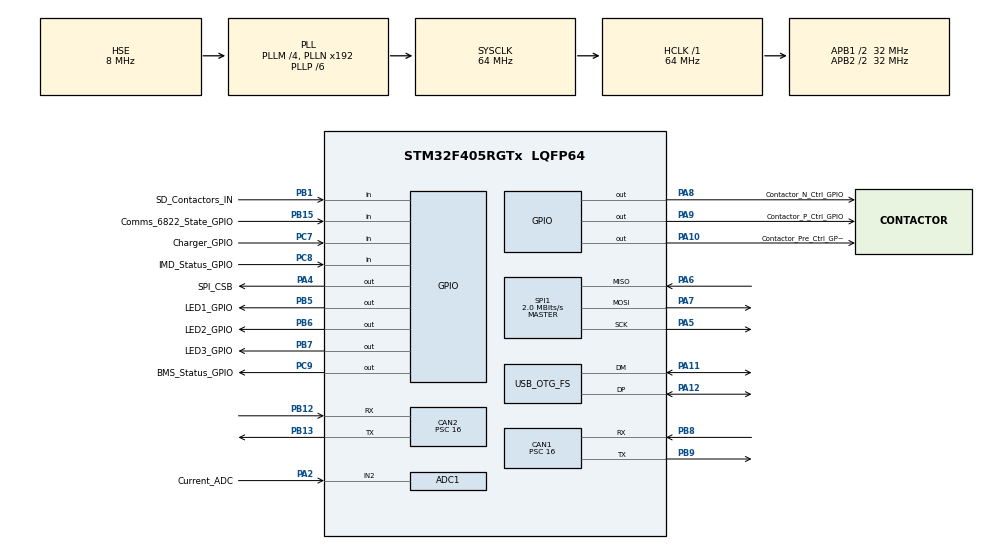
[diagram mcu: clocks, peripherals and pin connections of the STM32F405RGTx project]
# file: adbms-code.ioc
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ADC1.Channel-0\#ChannelRegularConversion=ADC_CHANNEL_2
ADC1.NbrOfConversionFlag=1
ADC1.Rank-0\#ChannelRegularConversion=1
ADC1.SamplingTime-0\#ChannelRegularConversion=ADC_SAMPLETIME_3CYCLES
ADC1.master=1
CAN1.BS1=CAN_BS1_2TQ
CAN1.BS2=CAN_BS2_1TQ
CAN1.CalculateBaudRate=500000
CAN1.CalculateTimeBit=2000
CAN1.CalculateTimeQuantum=500.0
CAN1.Prescaler=16
CAN2.BS1=CAN_BS1_2TQ
CAN2.BS2=CAN_BS2_1TQ
CAN2.CalculateBaudRate=500000
CAN2.CalculateTimeBit=2000
CAN2.CalculateTimeQuantum=500.0
CAN2.Prescaler=16
Mcu.Family=STM32F4
Mcu.Name=STM32F405RGTx
Mcu.Package=LQFP64
NVIC.CAN1_RX0_IRQn=true\:0\:0\:false\:false\:true\:true\:true\:true
NVIC.OTG_FS_IRQn=true\:0\:0\:false\:false\:true\:false\:true\:true
NVIC.PriorityGroup=NVIC_PRIORITYGROUP_4
NVIC.SPI1_IRQn=true\:0\:0\:false\:false\:true\:true\:true\:true
PA10.GPIO_Label=Contactor_Pre_Ctrl_GPIO
PA10.Signal=GPIO_Output
PA11.Mode=Device_Only
PA11.Signal=USB_OTG_FS_DM
PA12.Mode=Device_Only
PA12.Signal=USB_OTG_FS_DP
PA13.Mode=Trace_Asynchronous_SW
PA13.Signal=SYS_JTMS-SWDIO
PA14.Mode=Trace_Asynchronous_SW
PA14.Signal=SYS_JTCK-SWCLK
PA2.GPIO_Label=Current_ADC
PA2.Signal=ADCx_IN2
PA4.GPIO_Label=SPI_CSB
PA4.Signal=GPIO_Output
PA5.Mode=Full_Duplex_Master
PA5.Signal=SPI1_SCK
PA6.Mode=Full_Duplex_Master
PA6.Signal=SPI1_MISO
PA7.Mode=Full_Duplex_Master
PA7.Signal=SPI1_MOSI
PA8.GPIO_Label=Contactor_N_Ctrl_GPIO
PA8.Signal=GPIO_Output
PA9.GPIO_Label=Contactor_P_Ctrl_GPIO
PA9.Signal=GPIO_Output
PB1.GPIO_Label=SD_Contactors_IN
PB1.Signal=GPIO_Input
PB12.Mode=CAN_Activate
PB12.Signal=CAN2_RX
PB13.Mode=CAN_Activate
PB13.Signal=CAN2_TX
PB15.GPIO_Label=Comms_6822_State_GPIO
PB15.Signal=GPIO_Input
PB3.Mode=Trace_Asynchronous_SW
PB3.Signal=SYS_JTDO-SWO
PB5.GPIO_Label=LED1_GPIO
PB5.Signal=GPIO_Output
PB6.GPIO_Label=LED2_GPIO
PB6.Signal=GPIO_Output
PB7.GPIO_Label=LED3_GPIO
PB7.Signal=GPIO_Output
PB8.Mode=CAN_Activate
PB8.Signal=CAN1_RX
PB9.Mode=CAN_Activate
PB9.Signal=CAN1_TX
PC7.GPIO_Label=Charger_GPIO
PC7.Signal=GPIO_Input
PC8.GPIO_Label=IMD_Status_GPIO
PC8.Signal=GPIO_Input
PC9.GPIO_Label=BMS_Status_GPIO
PC9.Signal=GPIO_Output
PH0-OSC_IN.Mode=HSE-External-Oscillator
PH0-OSC_IN.Signal=RCC_OSC_IN
PH1-OSC_OUT.Mode=HSE-External-Oscillator
PH1-OSC_OUT.Signal=RCC_OSC_OUT
ProjectManager.HeapSize=0x200
ProjectManager.StackSize=0x400
ProjectManager.TargetToolchain=STM32CubeIDE
RCC.48MHZClocksFreq_Value=48000000
RCC.AHBFreq_Value=64000000
RCC.APB1CLKDivider=RCC_HCLK_DIV2
RCC.APB1Freq_Value=32000000
RCC.APB1TimFreq_Value=64000000
RCC.APB2CLKDivider=RCC_HCLK_DIV2
RCC.APB2Freq_Value=32000000
RCC.APB2TimFreq_Value=64000000
RCC.CortexFreq_Value=64000000
RCC.HCLKFreq_Value=64000000
RCC.HSE_VALUE=8000000
RCC.HSI_VALUE=16000000
RCC.LSE_VALUE=32768
RCC.PLLM=4
RCC.PLLP=RCC_PLLP_DIV6
RCC.PLLQ=8
RCC.SYSCLKFreq_VALUE=64000000
RCC.SYSCLKSource=RCC_SYSCLKSOURCE_PLLCLK
RCC.VCOOutputFreq_Value=384000000
SH.ADCx_IN2.0=ADC1_IN2,IN2
SPI1.BaudRatePrescaler=SPI_BAUDRATEPRESCALER_16
SPI1.CalculateBaudRate=2.0 MBits/s
SPI1.Direction=SPI_DIRECTION_2LINES
SPI1.Mode=SPI_MODE_MASTER
SPI1.VirtualType=VM_MASTER
USB_DEVICE.CLASS_NAME_FS=CDC
USB_DEVICE.VirtualMode-CDC_FS=Cdc
USB_DEVICE.VirtualModeFS=Cdc_FS
USB_OTG_FS.VirtualMode=Device_Only
VP_TIM2_VS_ClockSourceINT.Mode=Internal
VP_USB_DEVICE_VS_USB_DEVICE_CDC_FS.Mode=CDC_FS
board=custom

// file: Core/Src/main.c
/* USER CODE BEGIN Header */
/**
  ******************************************************************************
  * @file           : main.c
  * @brief          : Main program body
  ******************************************************************************
  * @attention
  *
  * Copyright (c) 2025 STMicroelectronics.
  * All rights reserved.
  *
  * This software is licensed under terms that can be found in the LICENSE file
  * in the root directory of this software component.
  * If no LICENSE file comes with this software, it is provided AS-IS.
  *
  ******************************************************************************
  */
/* USER CODE END Header */
#include "main.h"
#include "usb_device.h"

/* USER CODE BEGIN Includes */
#include <stdio.h>

int _write(int le, char *ptr, int len)
{
	int DataIdx;
	for(DataIdx = 0; DataIdx < len; DataIdx++)
	{
		ITM_SendChar(*ptr++);
	}
	return len;
}

#include "bms.h"
#include "bms_system_prams.h"

/* USER CODE END Includes */

ADC_HandleTypeDef hadc1;

CAN_HandleTypeDef hcan1;
CAN_HandleTypeDef hcan2;

SPI_HandleTypeDef hspi1;

TIM_HandleTypeDef htim2;

void SystemClock_Config(void);
static void MX_GPIO_Init(void);
static void MX_ADC1_Init(void);
static void MX_TIM2_Init(void);
static void MX_CAN1_Init(void);
static void MX_CAN2_Init(void);
static void MX_SPI1_Init(void);

/* USER CODE BEGIN 0 */
void HAL_SPI_TxRxCpltCallback(SPI_HandleTypeDef *hspi)
{
	DMA_Callback();
}
/* USER CODE END 0 */

int main(void)
{

  /* MCU Configuration--------------------------------------------------------*/

  /* Reset of all peripherals, Initializes the Flash interface and the Systick. */
  HAL_Init();

  /* Configure the system clock */
  SystemClock_Config();

  /* Initialize all configured peripherals */
  MX_GPIO_Init();
  MX_ADC1_Init();
  MX_TIM2_Init();
  MX_CAN1_Init();
  MX_CAN2_Init();
  MX_SPI1_Init();
  MX_USB_DEVICE_Init();
  /* USER CODE BEGIN 2 */

  // turn gpio1 on
  HAL_Delay(5);
  HAL_GPIO_WritePin(GPIOB, GPIO_PIN_5, 1);

  // init mainboard
  printf("Board Starting...\n");

  bms_mainbaord_setup(&hspi1, GPIOA, GPIO_PIN_4, &hadc1, &hcan1, &hcan2);
  /* USER CODE END 2 */

  /* Infinite loop */
  /* USER CODE BEGIN WHILE */
  while (1)
  {
    check_DMA();
    tick_mainboard_timers();

    /* USER CODE END WHILE */

  }
}

void SystemClock_Config(void)
{
  RCC_OscInitTypeDef RCC_OscInitStruct = {0};
  RCC_ClkInitTypeDef RCC_ClkInitStruct = {0};

  /** Configure the main internal regulator output voltage
  */
  __HAL_RCC_PWR_CLK_ENABLE();
  __HAL_PWR_VOLTAGESCALING_CONFIG(PWR_REGULATOR_VOLTAGE_SCALE1);

  /** Initializes the RCC Oscillators according to the specified parameters
  * in the RCC_OscInitTypeDef structure.
  */
  RCC_OscInitStruct.OscillatorType = RCC_OSCILLATORTYPE_HSE;
  RCC_OscInitStruct.HSEState = RCC_HSE_ON;
  RCC_OscInitStruct.PLL.PLLState = RCC_PLL_ON;
  RCC_OscInitStruct.PLL.PLLSource = RCC_PLLSOURCE_HSE;
  RCC_OscInitStruct.PLL.PLLM = 4;
  RCC_OscInitStruct.PLL.PLLN = 192;
  RCC_OscInitStruct.PLL.PLLP = RCC_PLLP_DIV6;
  RCC_OscInitStruct.PLL.PLLQ = 8;
  if (HAL_RCC_OscConfig(&RCC_OscInitStruct) != HAL_OK)
  {
    Error_Handler();
  }

  /** Initializes the CPU, AHB and APB buses clocks
  */
  RCC_ClkInitStruct.ClockType = RCC_CLOCKTYPE_HCLK|RCC_CLOCKTYPE_SYSCLK
                              |RCC_CLOCKTYPE_PCLK1|RCC_CLOCKTYPE_PCLK2;
  RCC_ClkInitStruct.SYSCLKSource = RCC_SYSCLKSOURCE_PLLCLK;
  RCC_ClkInitStruct.AHBCLKDivider = RCC_SYSCLK_DIV1;
  RCC_ClkInitStruct.APB1CLKDivider = RCC_HCLK_DIV2;
  RCC_ClkInitStruct.APB2CLKDivider = RCC_HCLK_DIV2;

  if (HAL_RCC_ClockConfig(&RCC_ClkInitStruct, FLASH_LATENCY_2) != HAL_OK)
  {
    Error_Handler();
  }
}

static void MX_ADC1_Init(void)
{

  ADC_ChannelConfTypeDef sConfig = {0};

  /** Configure the global features of the ADC (Clock, Resolution, Data Alignment and number of conversion)
  */
  hadc1.Instance = ADC1;
  hadc1.Init.ClockPrescaler = ADC_CLOCK_SYNC_PCLK_DIV2;
  hadc1.Init.Resolution = ADC_RESOLUTION_12B;
  hadc1.Init.ScanConvMode = DISABLE;
  hadc1.Init.ContinuousConvMode = DISABLE;
  hadc1.Init.DiscontinuousConvMode = DISABLE;
  hadc1.Init.ExternalTrigConvEdge = ADC_EXTERNALTRIGCONVEDGE_NONE;
  hadc1.Init.ExternalTrigConv = ADC_SOFTWARE_START;
  hadc1.Init.DataAlign = ADC_DATAALIGN_RIGHT;
  hadc1.Init.NbrOfConversion = 1;
  hadc1.Init.DMAContinuousRequests = DISABLE;
  hadc1.Init.EOCSelection = ADC_EOC_SINGLE_CONV;
  if (HAL_ADC_Init(&hadc1) != HAL_OK)
  {
    Error_Handler();
  }

  /** Configure for the selected ADC regular channel its corresponding rank in the sequencer and its sample time.
  */
  sConfig.Channel = ADC_CHANNEL_2;
  sConfig.Rank = 1;
  sConfig.SamplingTime = ADC_SAMPLETIME_3CYCLES;
  if (HAL_ADC_ConfigChannel(&hadc1, &sConfig) != HAL_OK)
  {
    Error_Handler();
  }

}

static void MX_CAN1_Init(void)
{

  hcan1.Instance = CAN1;
  hcan1.Init.Prescaler = 16;
  hcan1.Init.Mode = CAN_MODE_NORMAL;
  hcan1.Init.SyncJumpWidth = CAN_SJW_1TQ;
  hcan1.Init.TimeSeg1 = CAN_BS1_2TQ;
  hcan1.Init.TimeSeg2 = CAN_BS2_1TQ;
  hcan1.Init.TimeTriggeredMode = DISABLE;
  hcan1.Init.AutoBusOff = DISABLE;
  hcan1.Init.AutoWakeUp = DISABLE;
  hcan1.Init.AutoRetransmission = DISABLE;
  hcan1.Init.ReceiveFifoLocked = DISABLE;
  hcan1.Init.TransmitFifoPriority = DISABLE;
  if (HAL_CAN_Init(&hcan1) != HAL_OK)
  {
    Error_Handler();
  }
  /* USER CODE BEGIN CAN1_Init 2 */
  CAN_FilterTypeDef canfilterconfig;
  canfilterconfig.FilterActivation = CAN_FILTER_ENABLE;
  canfilterconfig.FilterBank = 18;  // which filter bank to use from the assigned ones
  canfilterconfig.FilterFIFOAssignment = CAN_FILTER_FIFO0;
  canfilterconfig.FilterIdHigh = 0x0<<5;
  canfilterconfig.FilterIdLow = 0;
  canfilterconfig.FilterMaskIdHigh = 0x0<<5;
  canfilterconfig.FilterMaskIdLow = 0x0000;
  canfilterconfig.FilterMode = CAN_FILTERMODE_IDMASK;
  canfilterconfig.FilterScale = CAN_FILTERSCALE_32BIT;
  canfilterconfig.SlaveStartFilterBank = 20;  // how many filters to assign to the CAN1 (master can)
  HAL_CAN_ConfigFilter(&hcan1, &canfilterconfig);
  /* USER CODE END CAN1_Init 2 */

}

static void MX_CAN2_Init(void)
{

  hcan2.Instance = CAN2;
  hcan2.Init.Prescaler = 16;
  hcan2.Init.Mode = CAN_MODE_NORMAL;
  hcan2.Init.SyncJumpWidth = CAN_SJW_1TQ;
  hcan2.Init.TimeSeg1 = CAN_BS1_2TQ;
  hcan2.Init.TimeSeg2 = CAN_BS2_1TQ;
  hcan2.Init.TimeTriggeredMode = DISABLE;
  hcan2.Init.AutoBusOff = DISABLE;
  hcan2.Init.AutoWakeUp = DISABLE;
  hcan2.Init.AutoRetransmission = DISABLE;
  hcan2.Init.ReceiveFifoLocked = DISABLE;
  hcan2.Init.TransmitFifoPriority = DISABLE;
  if (HAL_CAN_Init(&hcan2) != HAL_OK)
  {
    Error_Handler();
  }

}

static void MX_SPI1_Init(void)
{

  /* SPI1 parameter configuration*/
  hspi1.Instance = SPI1;
  hspi1.Init.Mode = SPI_MODE_MASTER;
  hspi1.Init.Direction = SPI_DIRECTION_2LINES;
  hspi1.Init.DataSize = SPI_DATASIZE_8BIT;
  hspi1.Init.CLKPolarity = SPI_POLARITY_LOW;
  hspi1.Init.CLKPhase = SPI_PHASE_1EDGE;
  hspi1.Init.NSS = SPI_NSS_SOFT;
  hspi1.Init.BaudRatePrescaler = SPI_BAUDRATEPRESCALER_16;
  hspi1.Init.FirstBit = SPI_FIRSTBIT_MSB;
  hspi1.Init.TIMode = SPI_TIMODE_DISABLE;
  hspi1.Init.CRCCalculation = SPI_CRCCALCULATION_DISABLE;
  hspi1.Init.CRCPolynomial = 10;
  if (HAL_SPI_Init(&hspi1) != HAL_OK)
  {
    Error_Handler();
  }

}

static void MX_TIM2_Init(void)
{

  TIM_ClockConfigTypeDef sClockSourceConfig = {0};
  TIM_MasterConfigTypeDef sMasterConfig = {0};

  htim2.Instance = TIM2;
  htim2.Init.Prescaler = 0;
  htim2.Init.CounterMode = TIM_COUNTERMODE_UP;
  htim2.Init.Period = 4294967295;
  htim2.Init.ClockDivision = TIM_CLOCKDIVISION_DIV1;
  htim2.Init.AutoReloadPreload = TIM_AUTORELOAD_PRELOAD_DISABLE;
  if (HAL_TIM_Base_Init(&htim2) != HAL_OK)
  {
    Error_Handler();
  }
  sClockSourceConfig.ClockSource = TIM_CLOCKSOURCE_INTERNAL;
  if (HAL_TIM_ConfigClockSource(&htim2, &sClockSourceConfig) != HAL_OK)
  {
    Error_Handler();
  }
  sMasterConfig.MasterOutputTrigger = TIM_TRGO_RESET;
  sMasterConfig.MasterSlaveMode = TIM_MASTERSLAVEMODE_DISABLE;
  if (HAL_TIMEx_MasterConfigSynchronization(&htim2, &sMasterConfig) != HAL_OK)
  {
    Error_Handler();
  }

}

static void MX_GPIO_Init(void)
{
  GPIO_InitTypeDef GPIO_InitStruct = {0};

  /* GPIO Ports Clock Enable */
  __HAL_RCC_GPIOH_CLK_ENABLE();
  __HAL_RCC_GPIOA_CLK_ENABLE();
  __HAL_RCC_GPIOB_CLK_ENABLE();
  __HAL_RCC_GPIOC_CLK_ENABLE();

  /*Configure GPIO pin Output Level */
  HAL_GPIO_WritePin(GPIOA, SPI_CSB_Pin|Contactor_N_Ctrl_GPIO_Pin|Contactor_P_Ctrl_GPIO_Pin|Contactor_Pre_Ctrl_GPIO_Pin, GPIO_PIN_RESET);

  /*Configure GPIO pin Output Level */
  HAL_GPIO_WritePin(BMS_Status_GPIO_GPIO_Port, BMS_Status_GPIO_Pin, GPIO_PIN_RESET);

  /*Configure GPIO pin Output Level */
  HAL_GPIO_WritePin(GPIOB, LED1_GPIO_Pin|LED2_GPIO_Pin|LED3_GPIO_Pin, GPIO_PIN_RESET);

  /*Configure GPIO pins : SPI_CSB_Pin Contactor_N_Ctrl_GPIO_Pin Contactor_P_Ctrl_GPIO_Pin Contactor_Pre_Ctrl_GPIO_Pin */
  GPIO_InitStruct.Pin = SPI_CSB_Pin|Contactor_N_Ctrl_GPIO_Pin|Contactor_P_Ctrl_GPIO_Pin|Contactor_Pre_Ctrl_GPIO_Pin;
  GPIO_InitStruct.Mode = GPIO_MODE_OUTPUT_PP;
  GPIO_InitStruct.Pull = GPIO_NOPULL;
  GPIO_InitStruct.Speed = GPIO_SPEED_FREQ_LOW;
  HAL_GPIO_Init(GPIOA, &GPIO_InitStruct);

  /*Configure GPIO pins : SD_Contactors_IN_Pin Comms_6822_State_GPIO_Pin */
  GPIO_InitStruct.Pin = SD_Contactors_IN_Pin|Comms_6822_State_GPIO_Pin;
  GPIO_InitStruct.Mode = GPIO_MODE_INPUT;
  GPIO_InitStruct.Pull = GPIO_NOPULL;
  HAL_GPIO_Init(GPIOB, &GPIO_InitStruct);

  /*Configure GPIO pins : Charger_GPIO_Pin IMD_Status_GPIO_Pin */
  GPIO_InitStruct.Pin = Charger_GPIO_Pin|IMD_Status_GPIO_Pin;
  GPIO_InitStruct.Mode = GPIO_MODE_INPUT;
  GPIO_InitStruct.Pull = GPIO_NOPULL;
  HAL_GPIO_Init(GPIOC, &GPIO_InitStruct);

  /*Configure GPIO pin : BMS_Status_GPIO_Pin */
  GPIO_InitStruct.Pin = BMS_Status_GPIO_Pin;
  GPIO_InitStruct.Mode = GPIO_MODE_OUTPUT_PP;
  GPIO_InitStruct.Pull = GPIO_NOPULL;
  GPIO_InitStruct.Speed = GPIO_SPEED_FREQ_LOW;
  HAL_GPIO_Init(BMS_Status_GPIO_GPIO_Port, &GPIO_InitStruct);

  /*Configure GPIO pins : LED1_GPIO_Pin LED2_GPIO_Pin LED3_GPIO_Pin */
  GPIO_InitStruct.Pin = LED1_GPIO_Pin|LED2_GPIO_Pin|LED3_GPIO_Pin;
  GPIO_InitStruct.Mode = GPIO_MODE_OUTPUT_PP;
  GPIO_InitStruct.Pull = GPIO_NOPULL;
  GPIO_InitStruct.Speed = GPIO_SPEED_FREQ_LOW;
  HAL_GPIO_Init(GPIOB, &GPIO_InitStruct);

}

void Error_Handler(void)
{
  __disable_irq();
  while (1)
  {
  }
}
